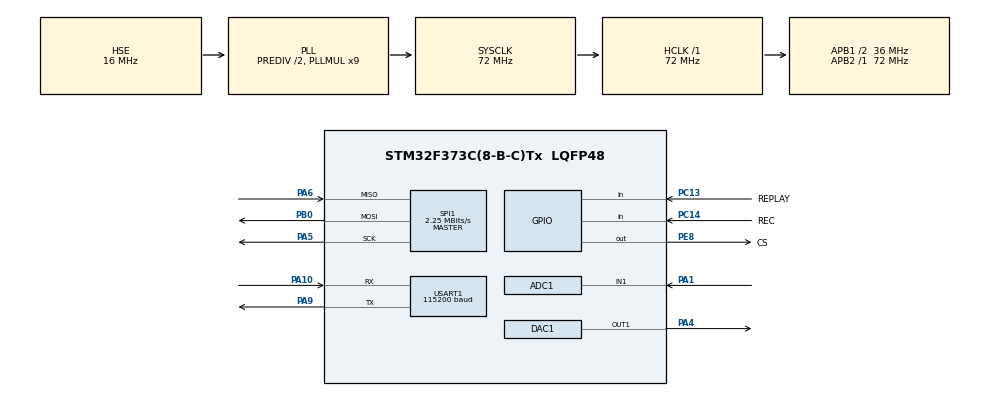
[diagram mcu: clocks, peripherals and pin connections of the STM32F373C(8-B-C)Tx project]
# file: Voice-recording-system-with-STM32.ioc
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ADC1.Channel-0\#ChannelRegularConversion=ADC_CHANNEL_1
ADC1.NbrOfConversionFlag=1
ADC1.Rank-0\#ChannelRegularConversion=1
ADC1.SamplingTime-0\#ChannelRegularConversion=ADC_SAMPLETIME_1CYCLE_5
ADC1.master=1
DAC1.DAC_OutputBuffer=DAC_OUTPUTBUFFER_DISABLE
DAC1.DAC_Trigger=DAC_TRIGGER_T3_TRGO
FATFS._MAX_SS=4096
FATFS._USE_LABEL=0
FATFS._USE_LFN=1
Mcu.Family=STM32F3
Mcu.Name=STM32F373C(8-B-C)Tx
Mcu.Package=LQFP48
NVIC.PriorityGroup=NVIC_PRIORITYGROUP_4
NVIC.TIM6_DAC1_IRQn=true\:0\:0\:false\:false\:true\:true\:true
PA1.Mode=IN1
PA1.Signal=ADC1_IN1
PA10.Mode=Asynchronous
PA10.Signal=USART1_RX
PA13.Mode=Trace_Asynchronous_SW
PA13.Signal=SYS_JTMS-SWDIO
PA14.Mode=Trace_Asynchronous_SW
PA14.Signal=SYS_JTCK-SWCLK
PA4.Signal=COMP_DAC11_group
PA5.Mode=Full_Duplex_Master
PA5.Signal=SPI1_SCK
PA6.Mode=Full_Duplex_Master
PA6.Signal=SPI1_MISO
PA9.Mode=Asynchronous
PA9.Signal=USART1_TX
PB0.Mode=Full_Duplex_Master
PB0.Signal=SPI1_MOSI
PB3.Mode=Trace_Asynchronous_SW
PB3.Signal=SYS_JTDO-TRACESWO
PC13.GPIO_Label=REPLAY
PC13.GPIO_PuPd=GPIO_PULLUP
PC13.Signal=GPIO_Input
PC14-OSC32_IN.GPIO_Label=REC
PC14-OSC32_IN.GPIO_PuPd=GPIO_PULLUP
PC14-OSC32_IN.Signal=GPIO_Input
PE8.GPIO_Label=CS
PE8.GPIO_Speed=GPIO_SPEED_FREQ_HIGH
PE8.PinState=GPIO_PIN_SET
PE8.Signal=GPIO_Output
PF0-OSC_IN.Mode=HSE-External-Oscillator
PF0-OSC_IN.Signal=RCC_OSC_IN
PF1-OSC_OUT.Mode=HSE-External-Oscillator
PF1-OSC_OUT.Signal=RCC_OSC_OUT
ProjectManager.HeapSize=0x200
ProjectManager.StackSize=0x400
ProjectManager.TargetToolchain=STM32CubeIDE
RCC.AHBFreq_Value=72000000
RCC.APB1CLKDivider=RCC_HCLK_DIV2
RCC.APB1Freq_Value=36000000
RCC.APB1TimFreq_Value=72000000
RCC.APB2Freq_Value=72000000
RCC.APB2TimFreq_Value=72000000
RCC.CortexFreq_Value=72000000
RCC.HCLKFreq_Value=72000000
RCC.HSE_VALUE=16000000
RCC.HSI_VALUE=8000000
RCC.LSE_VALUE=32768
RCC.PLLMUL=RCC_PLL_MUL9
RCC.PLLSourceVirtual=RCC_PLLSOURCE_HSE
RCC.RCC_PLLsource_Clock_Source_FROM_HSE=RCC_HSE_PREDIV_DIV2
RCC.SYSCLKFreq_VALUE=72000000
RCC.SYSCLKSource=RCC_SYSCLKSOURCE_PLLCLK
RCC.USBFreq_Value=72000000
SH.COMP_DAC11_group.0=DAC1_OUT1,DAC_OUT1
SPI1.BaudRatePrescaler=SPI_BAUDRATEPRESCALER_32
SPI1.CalculateBaudRate=2.25 MBits/s
SPI1.DataSize=SPI_DATASIZE_8BIT
SPI1.Direction=SPI_DIRECTION_2LINES
SPI1.Mode=SPI_MODE_MASTER
SPI1.VirtualType=VM_MASTER
TIM3.AutoReloadPreload=TIM_AUTORELOAD_PRELOAD_ENABLE
TIM3.Period=9
TIM3.Prescaler=71
TIM3.TIM_MasterOutputTrigger=TIM_TRGO_UPDATE
USART1.BaudRate=115200
USART1.VirtualMode-Asynchronous=VM_ASYNC
VP_FATFS_VS_Generic.Mode=User_defined
VP_TIM3_VS_ClockSourceINT.Mode=Internal
board=custom

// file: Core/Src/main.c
/* USER CODE BEGIN Header */
/**
  ******************************************************************************
  * @file           : main.c
  * @brief          : Main program body
  ******************************************************************************
  * @attention
  *
  * <h2><center>&copy; Copyright (c) 2025 STMicroelectronics.
  * All rights reserved.</center></h2>
  *
  * This software component is licensed by ST under BSD 3-Clause license,
  * the "License"; You may not use this file except in compliance with the
  * License. You may obtain a copy of the License at:
  *                        opensource.org/licenses/BSD-3-Clause
  *
  ******************************************************************************
  */
/* USER CODE END Header */
#include "main.h"
#include "adc.h"
#include "dac.h"
#include "fatfs.h"
#include "spi.h"
#include "tim.h"
#include "usart.h"
#include "gpio.h"

/* USER CODE BEGIN Includes */
#include <stdbool.h>
#include <stdio.h>
#include <string.h>
//#include "fatfs_sd_card.h"
/* USER CODE END Includes */

/* USER CODE BEGIN PV */
char* UART1_buffer = "costam\r\n";

uint32_t data_from_microphone;
const uint16_t maxAmplitude[] = {
		248, 264, 279, 294, 310, 325, 339, 354,
		367, 381, 394, 406, 418, 429, 439, 449,
		457, 465, 472, 479, 484, 488, 492, 494,
		496, 496, 496, 494, 492, 488, 484, 479,
		472, 465, 457, 449, 439, 429, 418, 406,
		394, 381, 367, 354, 339, 325, 310, 294,
		279, 264, 248, 232, 217, 202, 186, 171,
		157, 142, 129, 115, 102, 90, 78, 67,
		57, 47, 39, 31, 24, 17, 12, 8,
		4, 2, 0, 0, 0, 2, 4, 8,
		12, 17, 24, 31, 39, 47, 57, 67,
		78, 90, 102, 115, 129, 142, 157, 171,
		186, 202, 217, 232};

const uint16_t middleAmplitude[] = {
		248, 264, 279, 294, 310, 325, 339, 354,
		367, 381, 394, 406, 418, 429, 439, 449,
		457, 465, 472, 479, 484, 488, 492, 494,
		496, 496, 496, 494, 492, 488, 484, 479,
		472, 465, 457, 449, 439, 429, 418, 406,
		394, 381, 367, 354, 339, 325, 310, 294,
		279, 264, 248, 232, 217, 202, 186, 171,
		157, 142, 129, 115, 102, 90, 78, 67,
		57, 47, 39, 31, 24, 17, 12, 8,
		4, 2, 0, 0, 0, 2, 4, 8,
		12, 17, 24, 31, 39, 47, 57, 67,
		78, 90, 102, 115, 129, 142, 157, 171,
		186, 202, 217, 232};
/* USER CODE END PV */

void SystemClock_Config(void);

/* USER CODE BEGIN 0 */
void HAL_TIM_PeriodElapsedCallback(TIM_HandleTypeDef *htim)
{
	if (htim == &htim3){
//		temp = maxAmplitude[id];
//		HAL_DAC_SetValue(&hdac1, DAC_CHANNEL_1, DAC_ALIGN_12B_R, maxAmplitude[id]);
//		id++;
//		if (id >= 100 ) id = 0;
	}
}

void process_SD_card( void );

/* USER CODE END 0 */

int main(void)
{

  /* MCU Configuration--------------------------------------------------------*/

  /* Reset of all peripherals, Initializes the Flash interface and the Systick. */
  HAL_Init();

  /* Configure the system clock */
  SystemClock_Config();

  /* Initialize all configured peripherals */
  MX_GPIO_Init();
  MX_USART1_UART_Init();
  MX_ADC1_Init();
  MX_DAC1_Init();
  MX_TIM3_Init();
  MX_SPI1_Init();
  MX_FATFS_Init();
  /* USER CODE BEGIN 2 */

//  HAL_DAC_Start(&hdac1 , DAC_CHANNEL_1);
//  HAL_TIM_Base_Start(&htim3);

  HAL_Delay(10000);
  printf("whodze do funkcji lol\r\n");
  process_SD_card();
  /* USER CODE END 2 */

  /* Infinite loop */
  /* USER CODE BEGIN WHILE */
  while (1)
  {

	  printf("Test\r\n");
	  HAL_Delay(1000);
//	  HAL_ADC_Start(&hadc1);
//	  HAL_ADC_PollForConversion(&hadc1, HAL_MAX_DELAY);
//	  data_from_microphone = HAL_ADC_GetValue(&hadc1);
//	  temp = (data_from_microphone * 495) / 4095;
//	  HAL_DAC_SetValue(&hdac1, DAC_CHANNEL_1, DAC_ALIGN_12B_R,temp);
//	  id++;
//	  if (id >= 100 ) id = 0;

    /* USER CODE END WHILE */

  }
}

void SystemClock_Config(void)
{
  RCC_OscInitTypeDef RCC_OscInitStruct = {0};
  RCC_ClkInitTypeDef RCC_ClkInitStruct = {0};
  RCC_PeriphCLKInitTypeDef PeriphClkInit = {0};

  /** Initializes the RCC Oscillators according to the specified parameters
  * in the RCC_OscInitTypeDef structure.
  */
  RCC_OscInitStruct.OscillatorType = RCC_OSCILLATORTYPE_HSE;
  RCC_OscInitStruct.HSEState = RCC_HSE_ON;
  RCC_OscInitStruct.HSEPredivValue = RCC_HSE_PREDIV_DIV2;
  RCC_OscInitStruct.HSIState = RCC_HSI_ON;
  RCC_OscInitStruct.PLL.PLLState = RCC_PLL_ON;
  RCC_OscInitStruct.PLL.PLLSource = RCC_PLLSOURCE_HSE;
  RCC_OscInitStruct.PLL.PLLMUL = RCC_PLL_MUL9;
  if (HAL_RCC_OscConfig(&RCC_OscInitStruct) != HAL_OK)
  {
    Error_Handler();
  }
  /** Initializes the CPU, AHB and APB buses clocks
  */
  RCC_ClkInitStruct.ClockType = RCC_CLOCKTYPE_HCLK|RCC_CLOCKTYPE_SYSCLK
                              |RCC_CLOCKTYPE_PCLK1|RCC_CLOCKTYPE_PCLK2;
  RCC_ClkInitStruct.SYSCLKSource = RCC_SYSCLKSOURCE_PLLCLK;
  RCC_ClkInitStruct.AHBCLKDivider = RCC_SYSCLK_DIV1;
  RCC_ClkInitStruct.APB1CLKDivider = RCC_HCLK_DIV2;
  RCC_ClkInitStruct.APB2CLKDivider = RCC_HCLK_DIV1;

  if (HAL_RCC_ClockConfig(&RCC_ClkInitStruct, FLASH_LATENCY_2) != HAL_OK)
  {
    Error_Handler();
  }
  PeriphClkInit.PeriphClockSelection = RCC_PERIPHCLK_USART1|RCC_PERIPHCLK_ADC1;
  PeriphClkInit.Usart1ClockSelection = RCC_USART1CLKSOURCE_PCLK2;
  PeriphClkInit.Adc1ClockSelection = RCC_ADC1PCLK2_DIV2;

  if (HAL_RCCEx_PeriphCLKConfig(&PeriphClkInit) != HAL_OK)
  {
    Error_Handler();
  }
}

/* USER CODE BEGIN 4 */
#ifdef __GNUC__
  /* With GCC, small printf (option LD Linker->Libraries->Small printf
     set to 'Yes') calls __io_putchar() */
int __io_putchar(int ch)
#else
int fputc(int ch, FILE *f)
#endif /* __GNUC__ */
{
  /* Place your implementation of fputc here */
  /* e.g. write a character to the UART3 and Loop until the end of transmission */
  HAL_UART_Transmit(&huart1, (uint8_t *)&ch, 1, HAL_MAX_DELAY);

  return ch;
}

void process_SD_card( void )
{
  FATFS       FatFs;                //Fatfs handle
  FIL         fil;                  //File handle
  FRESULT     fres;                 //Result after operations
  char        buf[100];

  do
  {
    //Mount the SD Card
    fres = f_mount(&FatFs, "", 1);    //1=mount now
    if (fres != FR_OK)
    {
      printf("No SD Card found : (%i)\r\n", fres);
      break;
    }
    printf("SD Card Mounted Successfully!!!\r\n");

    //Read the SD Card Total size and Free Size
    FATFS *pfs;
    DWORD fre_clust;
    uint32_t totalSpace, freeSpace;

    f_getfree("", &fre_clust, &pfs);
    totalSpace = (uint32_t)((pfs->n_fatent - 2) * pfs->csize * 0.5);
    freeSpace = (uint32_t)(fre_clust * pfs->csize * 0.5);

    printf("TotalSpace : %lu bytes, FreeSpace = %lu bytes\n", totalSpace, freeSpace);

    //Open the file
    fres = f_open(&fil, "EmbeTronicX.txt", FA_WRITE | FA_READ | FA_CREATE_ALWAYS);
    if(fres != FR_OK)
    {
      printf("File creation/open Error : (%i)\r\n", fres);
      break;
    }

    printf("Writing data!!!\r\n");
    //write the data
    f_puts("Welcome to EmbeTronicX", &fil);

    //close your file
    f_close(&fil);

    //Open the file
    fres = f_open(&fil, "EmbeTronicX.txt", FA_READ);
    if(fres != FR_OK)
    {
      printf("File opening Error : (%i)\r\n", fres);
      break;
    }

    //read the data
    f_gets(buf, sizeof(buf), &fil);

    printf("Read Data : %s\n", buf);

    //close your file
    f_close(&fil);
    printf("Closing File!!!\r\n");
#if 0
    //Delete the file.
    fres = f_unlink(EmbeTronicX.txt);
    if (fres != FR_OK)
    {
      printf("Cannot able to delete the file\n");
    }
#endif
  } while( false );

  //We're done, so de-mount the drive
  f_mount(NULL, "", 0);
  printf("SD Card Unmounted Successfully!!!\r\n");
}

/* USER CODE END 4 */

void Error_Handler(void)
{
}

/************************ (C) COPYRIGHT STMicroelectronics *****END OF FILE****/
